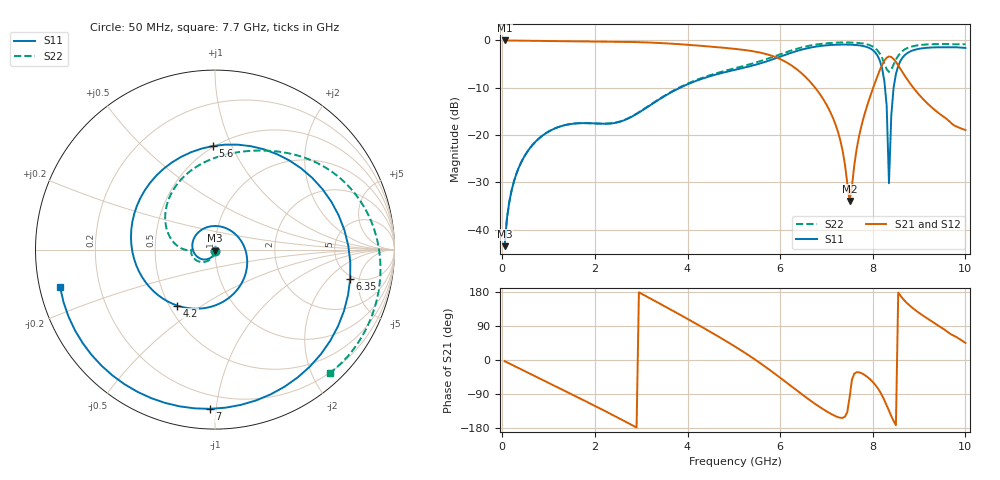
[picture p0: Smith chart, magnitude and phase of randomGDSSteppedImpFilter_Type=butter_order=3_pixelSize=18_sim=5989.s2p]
! freq	dB(S11)	phase(S11)	dB(S12)	phase(S12)
!  dB(S21)	phase(S21)	dB(S22)	phase(S22)
!S-par simulation data
#  GHz  S  DB  R 50
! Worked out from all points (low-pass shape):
!   200 points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, 50 MHz to 10 GHz, reference 50 ohm
!   highest |S21| = -0.01 dB at 50 MHz (marker M1); lowest = -34.0 dB at 7.5 GHz (marker M2)
!   |S21| within 3 dB of the highest: start of sweep to 5.741 GHz
!   lowest |S11| = -43.5 dB at 50 MHz (marker M3), VSWR 1.01, Z = 50 - j0.668 ohm
!   |S11| at or under -10 dB: start of sweep to 3.839 GHz; 8.264 GHz to 8.45 GHz (186 MHz wide, 2.23 % of centre)
!   |S22| runs from -43.5 to -0.4 dB; largest |S21 - S12| = 0
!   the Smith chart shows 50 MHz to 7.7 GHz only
!   S11 on the Smith chart (normalised r, x): 50 MHz: 1.00, -0.01; 4.2 GHz: 0.55, -0.40; 5.6 GHz: 0.49, +0.85; 6.35 GHz: 4.68, -3.71; 7 GHz: 0.12, -0.96; 7.7 GHz: 0.06, -0.12
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0.05  -43.50 -90.4  -0.01 -3.1  -0.01 -3.1  -43.49 -89.7
0.2  -31.76 -103.0  -0.02 -12.2  -0.02 -12.2  -31.74 -99.9
0.5  -24.15 -124.6  -0.06 -30.3  -0.06 -30.3  -24.13 -116.6
1.75  -17.48 138.1  -0.21 -105.8  -0.21 -105.8  -17.48 -171.3
2.65  -16.81 33.2  -0.30 -162.1  -0.30 -162.1  -16.75 -179.0
3.4  -12.40 -52.2  -0.55 148.8  -0.55 148.8  -12.31 168.3
4.2  -8.49 -123.9  -1.07 94.7  -1.07 94.7  -8.33 132.0
5.05  -6.16 156.2  -1.81 33.6  -1.81 33.6  -5.81 89.6
5.6  -4.77 91.0  -2.65 -10.8  -2.65 -10.8  -4.29 64.7
6.35  -2.27 -12.1  -6.03 -79.6  -6.03 -79.6  -1.79 27.5
6.7  -1.43 -57.0  -9.33 -111.1  -9.33 -111.1  -0.99 7.8
7  -1.04 -91.8  -13.57 -135.2  -13.57 -135.2  -0.61 -9.0
7.5  -0.89 -144.7  -33.96 -97.9  -33.96 -97.9  -0.44 -36.0
7.7  -1.03 -166.5  -20.44 -32.5  -20.44 -32.5  -0.54 -47.1
7.95  -1.72 161.6  -11.66 -51.8  -11.66 -51.8  -1.07 -62.7
8.2  -5.84 111.6  -5.20 -93.4  -5.20 -93.4  -3.68 -79.2
8.3  -13.77 78.8  -3.65 -119.6  -3.65 -119.6  -6.07 -74.3
8.35  -30.21 17.4  -3.39 -133.9  -3.39 -133.9  -6.65 -64.6
8.45  -9.97 -135.3  -3.93 -160.7  -3.93 -160.7  -5.09 -50.3
8.6  -4.27 -170.9  -6.06 169.3  -6.06 169.3  -2.62 -53.7
9.3  -1.48 104.4  -14.39 100.0  -14.39 100.0  -0.79 -88.3
10  -1.59 37.3  -18.95 45.1  -18.95 45.1  -0.81 -115.5
